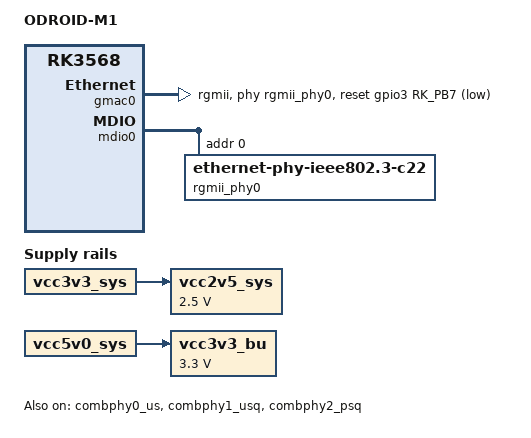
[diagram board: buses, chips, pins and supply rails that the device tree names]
// SPDX-License-Identifier: (GPL-2.0+ OR MIT)
/*
 * Copyright (c) 2021 Hardkernel Co., Ltd.
 *
 */

/dts-v1/;

#include <dt-bindings/gpio/gpio.h>
#include <dt-bindings/pinctrl/rockchip.h>
#include "rk3568.dtsi"
#include "rk3568-odroid.dtsi"

/ {
	model = "ODROID-M1";
	compatible = "rockchip,rk3568";

	vcc2v5_sys: vcc2v5-ddr {
		compatible = "regulator-fixed";
		regulator-name = "vcc2v5-sys";
		regulator-always-on;
		regulator-boot-on;
		regulator-min-microvolt = <2500000>;
		regulator-max-microvolt = <2500000>;
		vin-supply = <&vcc3v3_sys>;
	};

	vcc3v3_bu: vcc3v3-bu {
		compatible = "regulator-fixed";
		regulator-name = "vcc3v3_bu";
		regulator-always-on;
		regulator-boot-on;
		regulator-min-microvolt = <3300000>;
		regulator-max-microvolt = <3300000>;
		vin-supply = <&vcc5v0_sys>;
	};
};

&combphy0_us {
	status = "okay";
};

&combphy1_usq {
	status = "okay";
};

&combphy2_psq {
	status = "okay";
};

&gpio0 {
	gpio-line-names =
		/* GPIO0_A */
		"", "", "", "", "", "", "", "",
		/* GPIO0_B */
		"", "", "",
		"PIN_28", /* GPIO0_B3 */
		"PIN_27", /* GPIO0_B4 */
		"PIN_33", /* GPIO0_B5 */
		"PIN_7", /* GPIO0_B6 */
		"",
		/* GPIO0_C */
		"PIN_11", /* GPIO0_C0 */
		"PIN_13", /* GPIO0_C1 */
		"", "", "", "", "", "",
		/* GPIO0_D */
		"", "", "", "", "", "", "", "";
};

&gpio1 {
	gpio-line-names =
		/* GPIO1_A */
		"", "", "", "", "", "", "", "",
		/* GPIO1_B */
		"", "", "", "", "", "", "", "",
		/* GPIO1_C */
		"", "", "", "", "", "", "", "",
		/* GPIO1_D */
		"", "", "", "", "", "", "", "";
};

&gpio2 {
	gpio-line-names =
		/* GPIO2_A */
		"", "", "", "", "", "", "", "",
		/* GPIO2_B */
		"", "", "", "", "", "", "", "",
		/* GPIO2_C */
		"", "", "", "", "", "", "", "",
		/* GPIO2_D */
		"PIN_21", /* GPIO2_D0 */
		"PIN_19", /* GPIO2_D1 */
		"PIN_24", /* GPIO2_D2 */
		"PIN_23", /* GPIO2_D3 */
		"", "", "", "";
};

&gpio3 {
	gpio-line-names =
		/* GPIO3_A */
		"", "", "", "", "", "", "", "",
		/* GPIO3_B */
		"", "",
		"PIN_15", /* GPIO3_B2 */
		"", "",
		"PIN_5",  /* GPIO3_B5 */
		"PIN_3",  /* GPIO3_B6 */
		"",
		/* GPIO3_C */
		"", "", "", "", "", "",
		"PIN_16", /* GPIO3_C6 */
		"PIN_18", /* GPIO3_C7 */
		/* GPIO3_D */
		"PIN_12", /* GPIO3_D0 */
		"PIN_22", /* GPIO3_D1 */
		"PIN_26", /* GPIO3_D2 */
		"PIN_32", /* GPIO3_D3 */
		"PIN_36", /* GPIO3_D4 */
		"PIN_35", /* GPIO3_D5 */
		"PIN_8",  /* GPIO3_D6 */
		"PIN_10"; /* GPIO3_D7 */
};

&gpio4 {
	gpio-line-names =
		/* GPIO4_A */
		"", "", "", "", "", "", "", "",
		/* GPIO4_B */
		"", "", "", "", "", "",
		"PIN_31", /* GPIO4_B6 */
		"",
		/* GPIO4_C */
		"",
		"PIN_29", /* GPIO4_C1 */
		"", "", "", "", "", "",
		/* GPIO4_D */
		"", "", "", "", "", "", "", "";
};

&gmac0 {
	phy-mode = "rgmii";
	clock_in_out = "output";

	snps,reset-gpio = <&gpio3 RK_PB7 GPIO_ACTIVE_LOW>;
	snps,reset-active-low;
	/* Reset time is 20ms, 100ms for rtl8211f */
	snps,reset-delays-us = <0 20000 100000>;

	assigned-clocks = <&cru SCLK_GMAC0_RX_TX>, <&cru SCLK_GMAC0>;
	assigned-clock-parents = <&cru SCLK_GMAC0_RGMII_SPEED>, <&cru CLK_MAC0_2TOP>;
	assigned-clock-rates = <0>, <125000000>;

	pinctrl-names = "default";
	pinctrl-0 = <&gmac0_miim
		     &gmac0_tx_bus2
		     &gmac0_rx_bus2
		     &gmac0_rgmii_clk
		     &gmac0_rgmii_bus>;

	tx_delay = <0x3c>;
	rx_delay = <0x2f>;

	phy-handle = <&rgmii_phy0>;

	status = "okay";
};

&mdio0 {
	rgmii_phy0: phy@0 {
		compatible = "ethernet-phy-ieee802.3-c22";
		reg = <0x0>;
	};
};

&pcie30phy {
	status = "disabled";
};

&pcie3x2 {
	status = "disabled";
};

&pinctrl {
	sii902x {
		sii902x_hdmi_int: sii902x-hdmi-int {
			rockchip,pins = <3 RK_PA0 RK_FUNC_GPIO &pcfg_pull_up>;
		};
	};
};

&pmu_io_domains {
	pmuio2-supply = <&vcc3v3_pmu>;
	vccio1-supply = <&vccio_acodec>;
	vccio3-supply = <&vccio_sd>;
	vccio4-supply = <&vcc_1v8>;
	vccio5-supply = <&vcc_3v3>;
	vccio6-supply = <&vcc_3v3>;
	vccio7-supply = <&vcc_3v3>;
};

&route_dsi0 {
	status = "disabled";
	connect = <&vp1_out_dsi0>;
};

&bus_npu {
	status = "disabled";
};

&rknpu {
	status = "disabled";
};

&rknpu_mmu {
	status = "disabled";
};
